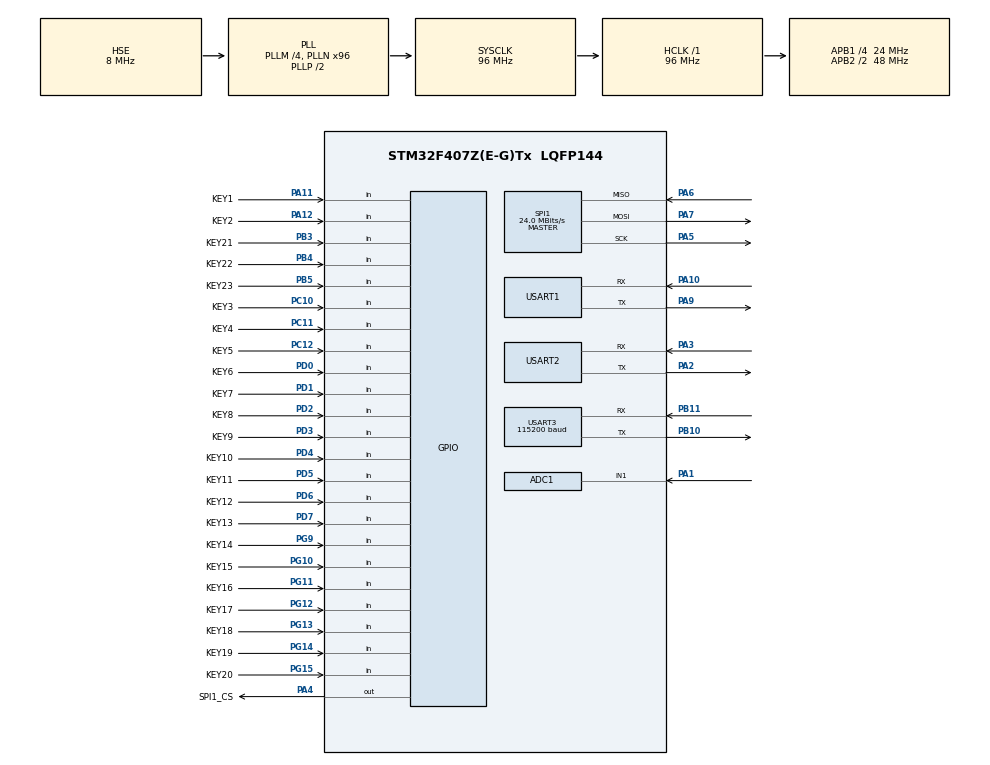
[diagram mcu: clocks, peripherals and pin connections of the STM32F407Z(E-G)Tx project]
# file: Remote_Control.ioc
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ADC1.Channel-0\#ChannelRegularConversion=ADC_CHANNEL_1
ADC1.ContinuousConvMode=ENABLE
ADC1.NbrOfConversionFlag=1
ADC1.Rank-0\#ChannelRegularConversion=1
ADC1.SamplingTime-0\#ChannelRegularConversion=ADC_SAMPLETIME_3CYCLES
ADC1.master=1
Dma.Request0=USART3_RX
Dma.USART3_RX.0.Direction=DMA_PERIPH_TO_MEMORY
Dma.USART3_RX.0.FIFOMode=DMA_FIFOMODE_DISABLE
Dma.USART3_RX.0.Instance=DMA1_Stream1
Dma.USART3_RX.0.MemDataAlignment=DMA_MDATAALIGN_BYTE
Dma.USART3_RX.0.MemInc=DMA_MINC_ENABLE
Dma.USART3_RX.0.Mode=DMA_CIRCULAR
Dma.USART3_RX.0.PeriphDataAlignment=DMA_PDATAALIGN_BYTE
Dma.USART3_RX.0.PeriphInc=DMA_PINC_DISABLE
Dma.USART3_RX.0.Priority=DMA_PRIORITY_LOW
FREERTOS.Tasks01=defaultTask,0,128,StartDefaultTask,Default,NULL,Dynamic,NULL,NULL
FREERTOS.configTOTAL_HEAP_SIZE=32768
Mcu.Family=STM32F4
Mcu.Name=STM32F407Z(E-G)Tx
Mcu.Package=LQFP144
NVIC.PriorityGroup=NVIC_PRIORITYGROUP_4
NVIC.TIM2_IRQn=true\:15\:0\:false\:false\:true\:false\:false\:true\:true
NVIC.TimeBase=TIM2_IRQn
NVIC.TimeBaseIP=TIM2
NVIC.USART1_IRQn=true\:3\:0\:true\:false\:true\:false\:true\:true\:true
NVIC.USART2_IRQn=true\:3\:0\:true\:false\:true\:false\:true\:true\:true
PA1.Signal=ADCx_IN1
PA10.Mode=Asynchronous
PA10.Signal=USART1_RX
PA11.GPIO_Label=KEY1
PA11.GPIO_PuPd=GPIO_PULLUP
PA11.Signal=GPIO_Input
PA12.GPIO_Label=KEY2
PA12.GPIO_PuPd=GPIO_PULLUP
PA12.Signal=GPIO_Input
PA13.Mode=Serial_Wire
PA13.Signal=SYS_JTMS-SWDIO
PA14.Mode=Serial_Wire
PA14.Signal=SYS_JTCK-SWCLK
PA2.Mode=Asynchronous
PA2.Signal=USART2_TX
PA3.Mode=Asynchronous
PA3.Signal=USART2_RX
PA4.GPIO_Label=SPI1_CS
PA4.Signal=GPIO_Output
PA5.Mode=Full_Duplex_Master
PA5.Signal=SPI1_SCK
PA6.Mode=Full_Duplex_Master
PA6.Signal=SPI1_MISO
PA7.Mode=Full_Duplex_Master
PA7.Signal=SPI1_MOSI
PA9.Mode=Asynchronous
PA9.Signal=USART1_TX
PB10.Mode=Asynchronous
PB10.Signal=USART3_TX
PB11.Mode=Asynchronous
PB11.Signal=USART3_RX
PB3.GPIO_Label=KEY21
PB3.GPIO_PuPd=GPIO_PULLUP
PB3.Signal=GPIO_Input
PB4.GPIO_Label=KEY22
PB4.GPIO_PuPd=GPIO_PULLUP
PB4.Signal=GPIO_Input
PB5.GPIO_Label=KEY23
PB5.GPIO_PuPd=GPIO_PULLUP
PB5.Signal=GPIO_Input
PC10.GPIO_Label=KEY3
PC10.GPIO_PuPd=GPIO_PULLUP
PC10.Signal=GPIO_Input
PC11.GPIO_Label=KEY4
PC11.GPIO_PuPd=GPIO_PULLUP
PC11.Signal=GPIO_Input
PC12.GPIO_Label=KEY5
PC12.GPIO_PuPd=GPIO_PULLUP
PC12.Signal=GPIO_Input
PC14-OSC32_IN.Mode=LSE-External-Oscillator
PC14-OSC32_IN.Signal=RCC_OSC32_IN
PC15-OSC32_OUT.Mode=LSE-External-Oscillator
PC15-OSC32_OUT.Signal=RCC_OSC32_OUT
PD0.GPIO_Label=KEY6
PD0.GPIO_PuPd=GPIO_PULLUP
PD0.Signal=GPIO_Input
PD1.GPIO_Label=KEY7
PD1.GPIO_PuPd=GPIO_PULLUP
PD1.Signal=GPIO_Input
PD2.GPIO_Label=KEY8
PD2.GPIO_PuPd=GPIO_PULLUP
PD2.Signal=GPIO_Input
PD3.GPIO_Label=KEY9
PD3.GPIO_PuPd=GPIO_PULLUP
PD3.Signal=GPIO_Input
PD4.GPIO_Label=KEY10
PD4.GPIO_PuPd=GPIO_PULLUP
PD4.Signal=GPIO_Input
PD5.GPIO_Label=KEY11
PD5.GPIO_PuPd=GPIO_PULLUP
PD5.Signal=GPIO_Input
PD6.GPIO_Label=KEY12
PD6.GPIO_PuPd=GPIO_PULLUP
PD6.Signal=GPIO_Input
PD7.GPIO_Label=KEY13
PD7.GPIO_PuPd=GPIO_PULLUP
PD7.Signal=GPIO_Input
PG10.GPIO_Label=KEY15
PG10.GPIO_PuPd=GPIO_PULLUP
PG10.Signal=GPIO_Input
PG11.GPIO_Label=KEY16
PG11.GPIO_PuPd=GPIO_PULLUP
PG11.Signal=GPIO_Input
PG12.GPIO_Label=KEY17
PG12.GPIO_PuPd=GPIO_PULLUP
PG12.Signal=GPIO_Input
PG13.GPIO_Label=KEY18
PG13.GPIO_PuPd=GPIO_PULLUP
PG13.Signal=GPIO_Input
PG14.GPIO_Label=KEY19
PG14.GPIO_PuPd=GPIO_PULLUP
PG14.Signal=GPIO_Input
PG15.GPIO_Label=KEY20
PG15.GPIO_PuPd=GPIO_PULLUP
PG15.Signal=GPIO_Input
PG9.GPIO_Label=KEY14
PG9.GPIO_PuPd=GPIO_PULLUP
PG9.Signal=GPIO_Input
PH0-OSC_IN.Mode=HSE-External-Oscillator
PH0-OSC_IN.Signal=RCC_OSC_IN
PH1-OSC_OUT.Mode=HSE-External-Oscillator
PH1-OSC_OUT.Signal=RCC_OSC_OUT
ProjectManager.HeapSize=0x2000
ProjectManager.StackSize=0x4000
ProjectManager.TargetToolchain=MDK-ARM V5.32
RCC.48MHZClocksFreq_Value=48000000
RCC.AHBFreq_Value=96000000
RCC.APB1CLKDivider=RCC_HCLK_DIV4
RCC.APB1Freq_Value=24000000
RCC.APB1TimFreq_Value=48000000
RCC.APB2CLKDivider=RCC_HCLK_DIV2
RCC.APB2Freq_Value=48000000
RCC.APB2TimFreq_Value=96000000
RCC.CortexFreq_Value=96000000
RCC.HCLKFreq_Value=96000000
RCC.HSE_VALUE=8000000
RCC.HSI_VALUE=16000000
RCC.PLLM=4
RCC.PLLN=96
RCC.PLLSourceVirtual=RCC_PLLSOURCE_HSE
RCC.SYSCLKFreq_VALUE=96000000
RCC.SYSCLKSource=RCC_SYSCLKSOURCE_PLLCLK
RCC.VCOOutputFreq_Value=192000000
SH.ADCx_IN1.0=ADC1_IN1,IN1
SPI1.CalculateBaudRate=24.0 MBits/s
SPI1.Direction=SPI_DIRECTION_2LINES
SPI1.Mode=SPI_MODE_MASTER
SPI1.VirtualType=VM_MASTER
USART1.VirtualMode=VM_ASYNC
USART2.VirtualMode=VM_ASYNC
USART3.BaudRate=115200
USART3.VirtualMode=VM_ASYNC
VP_FREERTOS_VS_CMSIS_V1.Mode=CMSIS_V1
VP_SYS_VS_tim2.Mode=TIM2
board=custom

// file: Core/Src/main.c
/* USER CODE BEGIN Header */
/**
  ******************************************************************************
  * @file           : main.c
  * @brief          : Main program body
  ******************************************************************************
  * @attention
  *
  * <h2><center>&copy; Copyright (c) 2022 STMicroelectronics.
  * All rights reserved.</center></h2>
  *
  * This software component is licensed by ST under BSD 3-Clause license,
  * the "License"; You may not use this file except in compliance with the
  * License. You may obtain a copy of the License at:
  *                        opensource.org/licenses/BSD-3-Clause
  *
  ******************************************************************************
  */
/* USER CODE END Header */
#include "main.h"
#include "cmsis_os.h"
#include "adc.h"
#include "dma.h"
#include "spi.h"
#include "usart.h"
#include "gpio.h"

void SystemClock_Config(void);
void MX_FREERTOS_Init(void);

int main(void)
{
  /* USER CODE BEGIN 1 */

  uint8_t msg[8];
  #if(0)
  msg[0] = 1;
  msg[1] = 2;
  msg[2] = 3;
  msg[3] = 4;
  msg[4] = 5;
  msg[5] = 6;
  msg[6] = 7;
  msg[7] = 8;
  while(1)
  {
    //HAL_UART_Transmit(&huart3, msg, 8, 100);
    HAL_Delay(1000);
  }
  #endif

  /* USER CODE END 1 */

  /* MCU Configuration--------------------------------------------------------*/

  /* Reset of all peripherals, Initializes the Flash interface and the Systick. */
  HAL_Init();

  /* Configure the system clock */
  SystemClock_Config();

  /* Initialize all configured peripherals */
  MX_GPIO_Init();
  MX_DMA_Init();
  MX_SPI1_Init();
  MX_USART1_UART_Init();
  MX_USART2_UART_Init();
  MX_USART3_UART_Init();
  MX_ADC1_Init();
  /* USER CODE BEGIN 2 */

  HAL_UART_Receive_IT(&huart1, msg, 1);
	HAL_UART_Receive_IT(&huart2, msg, 1);
////	HAL_UART_Receive_IT(&huart3, msg, 1);

  CreatTask();

  /* USER CODE END 2 */

  /* Call init function for freertos objects (in freertos.c) */
  MX_FREERTOS_Init();

  /* Start scheduler */
  osKernelStart();

  /* We should never get here as control is now taken by the scheduler */
  /* Infinite loop */
  while (1)
  {

  }
}

void SystemClock_Config(void)
{
  RCC_OscInitTypeDef RCC_OscInitStruct = {0};
  RCC_ClkInitTypeDef RCC_ClkInitStruct = {0};

  /** Configure the main internal regulator output voltage
  */
  __HAL_RCC_PWR_CLK_ENABLE();
  __HAL_PWR_VOLTAGESCALING_CONFIG(PWR_REGULATOR_VOLTAGE_SCALE1);

  /** Initializes the RCC Oscillators according to the specified parameters
  * in the RCC_OscInitTypeDef structure.
  */
  RCC_OscInitStruct.OscillatorType = RCC_OSCILLATORTYPE_HSE;
  RCC_OscInitStruct.HSEState = RCC_HSE_ON;
  RCC_OscInitStruct.PLL.PLLState = RCC_PLL_ON;
  RCC_OscInitStruct.PLL.PLLSource = RCC_PLLSOURCE_HSE;
  RCC_OscInitStruct.PLL.PLLM = 4;
  RCC_OscInitStruct.PLL.PLLN = 96;
  RCC_OscInitStruct.PLL.PLLP = RCC_PLLP_DIV2;
  RCC_OscInitStruct.PLL.PLLQ = 4;
  if (HAL_RCC_OscConfig(&RCC_OscInitStruct) != HAL_OK)
  {
    Error_Handler();
  }

  /** Initializes the CPU, AHB and APB buses clocks
  */
  RCC_ClkInitStruct.ClockType = RCC_CLOCKTYPE_HCLK|RCC_CLOCKTYPE_SYSCLK
                              |RCC_CLOCKTYPE_PCLK1|RCC_CLOCKTYPE_PCLK2;
  RCC_ClkInitStruct.SYSCLKSource = RCC_SYSCLKSOURCE_PLLCLK;
  RCC_ClkInitStruct.AHBCLKDivider = RCC_SYSCLK_DIV1;
  RCC_ClkInitStruct.APB1CLKDivider = RCC_HCLK_DIV4;
  RCC_ClkInitStruct.APB2CLKDivider = RCC_HCLK_DIV2;

  if (HAL_RCC_ClockConfig(&RCC_ClkInitStruct, FLASH_LATENCY_3) != HAL_OK)
  {
    Error_Handler();
  }
}

void HAL_TIM_PeriodElapsedCallback(TIM_HandleTypeDef *htim)
{
  if (htim->Instance == TIM2) {
    HAL_IncTick();
  }
}

void Error_Handler(void)
{
  __disable_irq();
  while (1)
  {
  }
}

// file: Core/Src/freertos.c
/* USER CODE BEGIN Header */
/**
  ******************************************************************************
  * File Name          : freertos.c
  * Description        : Code for freertos applications
  ******************************************************************************
  * @attention
  *
  * <h2><center>&copy; Copyright (c) 2022 STMicroelectronics.
  * All rights reserved.</center></h2>
  *
  * This software component is licensed by ST under Ultimate Liberty license
  * SLA0044, the "License"; You may not use this file except in compliance with
  * the License. You may obtain a copy of the License at:
  *                             www.st.com/SLA0044
  *
  ******************************************************************************
  */
/* USER CODE END Header */

#include "FreeRTOS.h"
#include "task.h"
#include "main.h"
#include "cmsis_os.h"

osThreadId defaultTaskHandle;

void StartDefaultTask(void const * argument);

void MX_FREERTOS_Init(void); /* (MISRA C 2004 rule 8.1) */

/* GetIdleTaskMemory prototype (linked to static allocation support) */
void vApplicationGetIdleTaskMemory( StaticTask_t **ppxIdleTaskTCBBuffer, StackType_t **ppxIdleTaskStackBuffer, uint32_t *pulIdleTaskStackSize );

/* USER CODE BEGIN GET_IDLE_TASK_MEMORY */
static StaticTask_t xIdleTaskTCBBuffer;
static StackType_t xIdleStack[configMINIMAL_STACK_SIZE];

void vApplicationGetIdleTaskMemory( StaticTask_t **ppxIdleTaskTCBBuffer, StackType_t **ppxIdleTaskStackBuffer, uint32_t *pulIdleTaskStackSize )
{
  *ppxIdleTaskTCBBuffer = &xIdleTaskTCBBuffer;
  *ppxIdleTaskStackBuffer = &xIdleStack[0];
  *pulIdleTaskStackSize = configMINIMAL_STACK_SIZE;
  /* place for user code */
}
/* USER CODE END GET_IDLE_TASK_MEMORY */

void MX_FREERTOS_Init(void) {

  /* Create the thread(s) */
  /* definition and creation of defaultTask */
  osThreadDef(defaultTask, StartDefaultTask, osPriorityNormal, 0, 128);
  defaultTaskHandle = osThreadCreate(osThread(defaultTask), NULL);

}

void StartDefaultTask(void const * argument)
{
  for(;;)
  {
    osDelay(1);
  }
}
